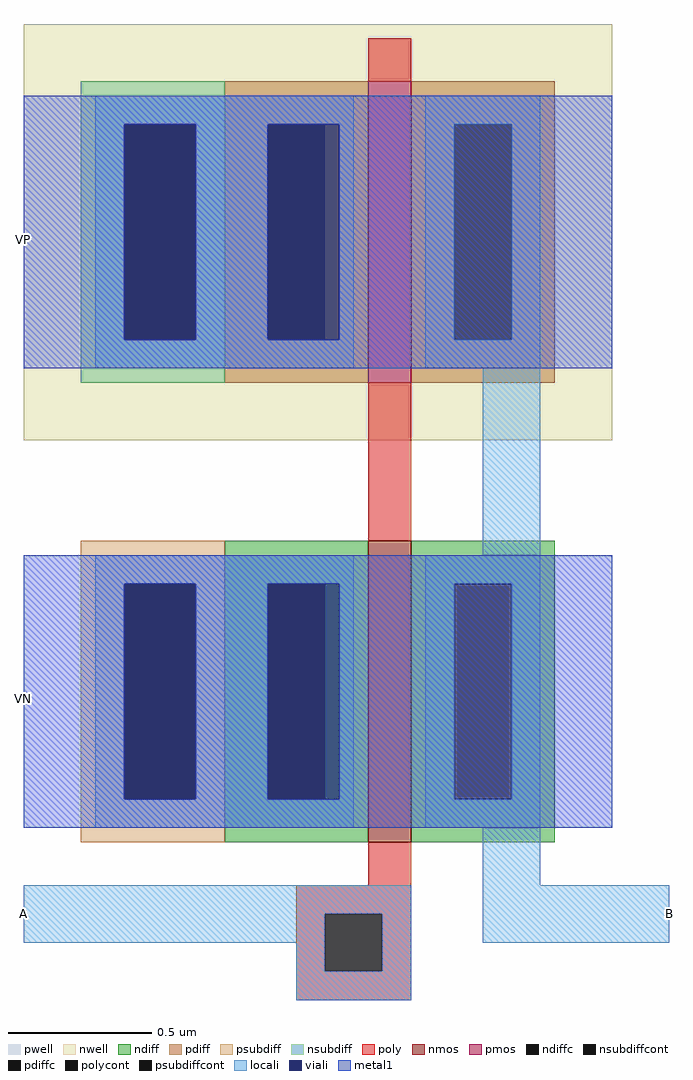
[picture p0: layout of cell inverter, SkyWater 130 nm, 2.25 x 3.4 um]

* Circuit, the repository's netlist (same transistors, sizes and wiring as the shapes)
* NGSPICE file created from inverter.ext - technology: sky130A

.subckt inverter A B VP VN
X0 B A VP VP sky130_fd_pr__pfet_01v8 ad=0.525 pd=3.1 as=0.525 ps=3.1 w=1.05 l=0.15
X1 B A VN VN sky130_fd_pr__nfet_01v8 ad=0.525 pd=3.1 as=0.525 ps=3.1 w=1.05 l=0.15
.ends

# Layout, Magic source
magic
tech sky130A
<< nwell >>
rect -120 35 85 180
<< pwell >>
rect -15 -150 5 -130
<< nmos >>
rect 0 -105 15 0
<< pmos >>
rect 0 55 15 160
<< ndiff >>
rect -50 -15 0 0
rect -50 -90 -35 -15
rect -15 -90 0 -15
rect -50 -105 0 -90
rect 15 -15 65 0
rect 15 -90 30 -15
rect 50 -90 65 -15
rect 15 -105 65 -90
<< pdiff >>
rect -50 145 0 160
rect -50 70 -35 145
rect -15 70 0 145
rect -50 55 0 70
rect 15 145 65 160
rect 15 70 30 145
rect 50 70 65 145
rect 15 55 65 70
<< ndiffc >>
rect -35 -90 -15 -15
rect 30 -90 50 -15
<< pdiffc >>
rect -35 70 -15 145
rect 30 70 50 145
<< psubdiff >>
rect -100 -15 -50 0
rect -100 -90 -85 -15
rect -60 -90 -50 -15
rect -100 -105 -50 -90
<< nsubdiff >>
rect -100 145 -50 160
rect -100 70 -85 145
rect -60 70 -50 145
rect -100 55 -50 70
<< psubdiffcont >>
rect -85 -90 -60 -15
<< nsubdiffcont >>
rect -85 70 -60 145
<< poly >>
rect 0 160 15 175
rect 0 0 15 55
rect 0 -120 15 -105
rect -25 -130 15 -120
rect -25 -150 -15 -130
rect 5 -150 15 -130
rect -25 -160 15 -150
<< polycont >>
rect -15 -150 5 -130
<< locali >>
rect -95 145 -5 155
rect -95 70 -85 145
rect -60 70 -35 145
rect -10 70 -5 145
rect -95 60 -5 70
rect 20 145 60 155
rect 20 70 30 145
rect 50 70 60 145
rect 20 60 60 70
rect 40 -5 60 60
rect -95 -15 -5 -5
rect -95 -90 -85 -15
rect -60 -90 -35 -15
rect -10 -90 -5 -15
rect -95 -100 -5 -90
rect 20 -15 60 -5
rect 20 -90 30 -15
rect 50 -90 60 -15
rect 20 -100 60 -90
rect 40 -120 60 -100
rect -120 -130 15 -120
rect -120 -140 -15 -130
rect -25 -150 -15 -140
rect 5 -150 15 -130
rect 40 -140 105 -120
rect -25 -160 15 -150
<< viali >>
rect -85 70 -60 145
rect -35 70 -15 145
rect -15 70 -10 145
rect -85 -90 -60 -15
rect -35 -90 -15 -15
rect -15 -90 -10 -15
<< metal1 >>
rect -120 145 85 155
rect -120 70 -85 145
rect -60 70 -35 145
rect -10 70 85 145
rect -120 60 85 70
rect -120 -15 85 -5
rect -120 -90 -85 -15
rect -60 -90 -35 -15
rect -10 -90 85 -15
rect -120 -100 85 -90
<< labels >>
rlabel locali -120 -130 -120 -130 7 A
port 1 w
rlabel locali 105 -130 105 -130 3 B
port 2 e
rlabel metal1 -120 105 -120 105 7 VP
port 3 w
rlabel metal1 -120 -55 -120 -55 7 VN
port 4 w
<< end >>
